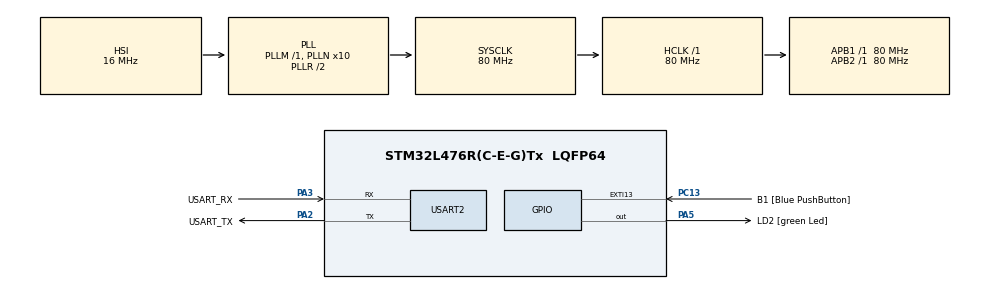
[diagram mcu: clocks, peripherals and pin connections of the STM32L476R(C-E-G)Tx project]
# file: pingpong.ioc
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Mcu.Family=STM32L4
Mcu.Name=STM32L476R(C-E-G)Tx
Mcu.Package=LQFP64
NVIC.PriorityGroup=NVIC_PRIORITYGROUP_4
PA13\ (JTMS-SWDIO).GPIO_Label=TMS
PA13\ (JTMS-SWDIO).Mode=Serial_Wire
PA13\ (JTMS-SWDIO).Signal=SYS_JTMS-SWDIO
PA14\ (JTCK-SWCLK).GPIO_Label=TCK
PA14\ (JTCK-SWCLK).Mode=Serial_Wire
PA14\ (JTCK-SWCLK).Signal=SYS_JTCK-SWCLK
PA2.GPIO_Label=USART_TX
PA2.GPIO_Mode=GPIO_MODE_AF_PP
PA2.GPIO_PuPd=GPIO_NOPULL
PA2.GPIO_Speed=GPIO_SPEED_FREQ_VERY_HIGH
PA2.Mode=Asynchronous
PA2.Signal=USART2_TX
PA3.GPIO_Label=USART_RX
PA3.GPIO_Mode=GPIO_MODE_AF_PP
PA3.GPIO_PuPd=GPIO_NOPULL
PA3.GPIO_Speed=GPIO_SPEED_FREQ_VERY_HIGH
PA3.Mode=Asynchronous
PA3.Signal=USART2_RX
PA5.GPIO_Label=LD2 [green Led]
PA5.GPIO_ModeDefaultOutputPP=GPIO_MODE_OUTPUT_PP
PA5.GPIO_PuPd=GPIO_NOPULL
PA5.GPIO_Speed=GPIO_SPEED_FREQ_LOW
PA5.Signal=GPIO_Output
PB3\ (JTDO-TRACESWO).GPIO_Label=SWO
PB3\ (JTDO-TRACESWO).Signal=SYS_JTDO-SWO
PC13.GPIO_Label=B1 [Blue PushButton]
PC13.GPIO_ModeDefaultEXTI=GPIO_MODE_IT_FALLING
PC13.GPIO_PuPd=GPIO_NOPULL
PC13.Signal=GPXTI13
PC14-OSC32_IN\ (PC14).Mode=LSE-External-Oscillator
PC14-OSC32_IN\ (PC14).Signal=RCC_OSC32_IN
PC15-OSC32_OUT\ (PC15).Mode=LSE-External-Oscillator
PC15-OSC32_OUT\ (PC15).Signal=RCC_OSC32_OUT
PH0-OSC_IN\ (PH0).Signal=RCC_OSC_IN
PH1-OSC_OUT\ (PH1).Signal=RCC_OSC_OUT
ProjectManager.HeapSize=0x200
ProjectManager.StackSize=0x400
ProjectManager.TargetToolchain=STM32CubeIDE
RCC.ADCFreq_Value=64000000
RCC.AHBFreq_Value=80000000
RCC.APB1Freq_Value=80000000
RCC.APB1TimFreq_Value=80000000
RCC.APB2Freq_Value=80000000
RCC.APB2TimFreq_Value=80000000
RCC.CortexFreq_Value=80000000
RCC.HCLKFreq_Value=80000000
RCC.HSE_VALUE=8000000
RCC.HSI_VALUE=16000000
RCC.MSI_VALUE=4000000
RCC.PLLN=10
RCC.PLLSourceVirtual=RCC_PLLSOURCE_HSI
RCC.PREFETCH_ENABLE=1
RCC.SYSCLKFreq_VALUE=80000000
RCC.SYSCLKSource=RCC_SYSCLKSOURCE_PLLCLK
RCC.USBFreq_Value=64000000
RCC.VCOOutputFreq_Value=160000000
USART2.VirtualMode-Asynchronous=VM_ASYNC
board=NUCLEO-L476RG

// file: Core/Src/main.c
/* USER CODE BEGIN Header */
/**
 ******************************************************************************
 * @file           : main.c
 * @brief          : Main program body
 ******************************************************************************
 * @attention
 *
 * Copyright (c) 2025 STMicroelectronics.
 * All rights reserved.
 *
 * This software is licensed under terms that can be found in the LICENSE file
 * in the root directory of this software component.
 * If no LICENSE file comes with this software, it is provided AS-IS.
 *
 ******************************************************************************
 */
/* USER CODE END Header */
#include "main.h"

/* USER CODE BEGIN Includes */
#include "leds.h"
#include "button.h"
#include "timer.h"
#include "score.h"
/* USER CODE END Includes */

UART_HandleTypeDef huart2;

void SystemClock_Config(void);
static void MX_GPIO_Init(void);
static void MX_USART2_UART_Init(void);
/* USER CODE BEGIN PFP */
void ping_pong_game(void);
void test_leds(void);
/* USER CODE END PFP */

int main(void)
{

  /* MCU Configuration--------------------------------------------------------*/

  /* Reset of all peripherals, Initializes the Flash interface and the Systick. */
  HAL_Init();

  /* Configure the system clock */
  SystemClock_Config();

  /* Initialize all configured peripherals */
  MX_GPIO_Init();
  MX_USART2_UART_Init();
  /* USER CODE BEGIN 2 */
  leds_init();
  button_init();

  /* Uncomment test_leds() to run LED test instead of game */
  /* test_leds(); */

  ping_pong_game();
  /* USER CODE END 2 */

  /* Infinite loop */
  while (1)
  {

  }
}

void SystemClock_Config(void)
{
  RCC_OscInitTypeDef RCC_OscInitStruct = {0};
  RCC_ClkInitTypeDef RCC_ClkInitStruct = {0};

  /** Configure the main internal regulator output voltage
   */
  if (HAL_PWREx_ControlVoltageScaling(PWR_REGULATOR_VOLTAGE_SCALE1) != HAL_OK)
  {
    Error_Handler();
  }

  /** Initializes the RCC Oscillators according to the specified parameters
   * in the RCC_OscInitTypeDef structure.
   */
  RCC_OscInitStruct.OscillatorType = RCC_OSCILLATORTYPE_HSI;
  RCC_OscInitStruct.HSIState = RCC_HSI_ON;
  RCC_OscInitStruct.HSICalibrationValue = RCC_HSICALIBRATION_DEFAULT;
  RCC_OscInitStruct.PLL.PLLState = RCC_PLL_ON;
  RCC_OscInitStruct.PLL.PLLSource = RCC_PLLSOURCE_HSI;
  RCC_OscInitStruct.PLL.PLLM = 1;
  RCC_OscInitStruct.PLL.PLLN = 10;
  RCC_OscInitStruct.PLL.PLLP = RCC_PLLP_DIV7;
  RCC_OscInitStruct.PLL.PLLQ = RCC_PLLQ_DIV2;
  RCC_OscInitStruct.PLL.PLLR = RCC_PLLR_DIV2;
  if (HAL_RCC_OscConfig(&RCC_OscInitStruct) != HAL_OK)
  {
    Error_Handler();
  }

  /** Initializes the CPU, AHB and APB buses clocks
   */
  RCC_ClkInitStruct.ClockType = RCC_CLOCKTYPE_HCLK | RCC_CLOCKTYPE_SYSCLK | RCC_CLOCKTYPE_PCLK1 | RCC_CLOCKTYPE_PCLK2;
  RCC_ClkInitStruct.SYSCLKSource = RCC_SYSCLKSOURCE_PLLCLK;
  RCC_ClkInitStruct.AHBCLKDivider = RCC_SYSCLK_DIV1;
  RCC_ClkInitStruct.APB1CLKDivider = RCC_HCLK_DIV1;
  RCC_ClkInitStruct.APB2CLKDivider = RCC_HCLK_DIV1;

  if (HAL_RCC_ClockConfig(&RCC_ClkInitStruct, FLASH_LATENCY_4) != HAL_OK)
  {
    Error_Handler();
  }
}

static void MX_USART2_UART_Init(void)
{

  huart2.Instance = USART2;
  huart2.Init.BaudRate = 115200;
  huart2.Init.WordLength = UART_WORDLENGTH_8B;
  huart2.Init.StopBits = UART_STOPBITS_1;
  huart2.Init.Parity = UART_PARITY_NONE;
  huart2.Init.Mode = UART_MODE_TX_RX;
  huart2.Init.HwFlowCtl = UART_HWCONTROL_NONE;
  huart2.Init.OverSampling = UART_OVERSAMPLING_16;
  huart2.Init.OneBitSampling = UART_ONE_BIT_SAMPLE_DISABLE;
  huart2.AdvancedInit.AdvFeatureInit = UART_ADVFEATURE_NO_INIT;
  if (HAL_UART_Init(&huart2) != HAL_OK)
  {
    Error_Handler();
  }
}

static void MX_GPIO_Init(void)
{
  GPIO_InitTypeDef GPIO_InitStruct = {0};

  /* GPIO Ports Clock Enable */
  __HAL_RCC_GPIOC_CLK_ENABLE();
  __HAL_RCC_GPIOH_CLK_ENABLE();
  __HAL_RCC_GPIOA_CLK_ENABLE();
  __HAL_RCC_GPIOB_CLK_ENABLE();

  /*Configure GPIO pin Output Level */
  HAL_GPIO_WritePin(LD2_GPIO_Port, LD2_Pin, GPIO_PIN_RESET);

  /*Configure GPIO pin : B1_Pin */
  GPIO_InitStruct.Pin = B1_Pin;
  GPIO_InitStruct.Mode = GPIO_MODE_IT_FALLING;
  GPIO_InitStruct.Pull = GPIO_NOPULL;
  HAL_GPIO_Init(B1_GPIO_Port, &GPIO_InitStruct);

  /*Configure GPIO pin : LD2_Pin */
  GPIO_InitStruct.Pin = LD2_Pin;
  GPIO_InitStruct.Mode = GPIO_MODE_OUTPUT_PP;
  GPIO_InitStruct.Pull = GPIO_NOPULL;
  GPIO_InitStruct.Speed = GPIO_SPEED_FREQ_LOW;
  HAL_GPIO_Init(LD2_GPIO_Port, &GPIO_InitStruct);

  /* USER CODE BEGIN MX_GPIO_Init_2 */

  /* Configure LED pins as outputs (ping-pong board) */

  /* LEDs on GPIOB: PB1, PB2, PB11, PB12 */
  GPIO_InitStruct.Pin = GPIO_PIN_1 | GPIO_PIN_2 | GPIO_PIN_11 | GPIO_PIN_12;
  GPIO_InitStruct.Mode = GPIO_MODE_OUTPUT_PP;
  GPIO_InitStruct.Pull = GPIO_NOPULL;
  GPIO_InitStruct.Speed = GPIO_SPEED_FREQ_LOW;
  HAL_GPIO_Init(GPIOB, &GPIO_InitStruct);

  /* LEDs on GPIOA: PA11, PA12 */
  GPIO_InitStruct.Pin = GPIO_PIN_11 | GPIO_PIN_12;
  GPIO_InitStruct.Mode = GPIO_MODE_OUTPUT_PP;
  GPIO_InitStruct.Pull = GPIO_NOPULL;
  GPIO_InitStruct.Speed = GPIO_SPEED_FREQ_LOW;
  HAL_GPIO_Init(GPIOA, &GPIO_InitStruct);

  /* LEDs on GPIOC: PC5, PC6 */
  GPIO_InitStruct.Pin = GPIO_PIN_5 | GPIO_PIN_6;
  GPIO_InitStruct.Mode = GPIO_MODE_OUTPUT_PP;
  GPIO_InitStruct.Pull = GPIO_NOPULL;
  GPIO_InitStruct.Speed = GPIO_SPEED_FREQ_LOW;
  HAL_GPIO_Init(GPIOC, &GPIO_InitStruct);

  /* Configure button pins as inputs with pull-up (ping-pong board) */

  /* Right button on PC8 */
  GPIO_InitStruct.Pin = GPIO_PIN_8;
  GPIO_InitStruct.Mode = GPIO_MODE_INPUT;
  GPIO_InitStruct.Pull = GPIO_PULLUP;
  HAL_GPIO_Init(GPIOC, &GPIO_InitStruct);

  /* Left button on PB15 */
  GPIO_InitStruct.Pin = GPIO_PIN_15;
  GPIO_InitStruct.Mode = GPIO_MODE_INPUT;
  GPIO_InitStruct.Pull = GPIO_PULLUP;
  HAL_GPIO_Init(GPIOB, &GPIO_InitStruct);

  /* Set all LEDs to initial state (off) */
  HAL_GPIO_WritePin(GPIOB, GPIO_PIN_1 | GPIO_PIN_2 | GPIO_PIN_11 | GPIO_PIN_12, GPIO_PIN_RESET);
  HAL_GPIO_WritePin(GPIOA, GPIO_PIN_11 | GPIO_PIN_12, GPIO_PIN_RESET);
  HAL_GPIO_WritePin(GPIOC, GPIO_PIN_5 | GPIO_PIN_6, GPIO_PIN_RESET);

  /* USER CODE END MX_GPIO_Init_2 */
}

/* USER CODE BEGIN 4 */

/* See GAME_GUIDE.md for game rules and instructions */

/* Game configuration constants */
#define WINNING_SCORE 5
#define INITIAL_SPEED 200
#define MIN_SPEED 100
#define SPEED_DECREASE 20
#define SCORE_DISPLAY_TIME 2000

typedef enum
{
  GAME_START,
  BALL_MOVING_RIGHT,
  BALL_MOVING_LEFT,
  POINT_SCORED,
  GAME_OVER
} GameState;

/**
 * Main ping-pong game loop (never returns)
 */
void ping_pong_game(void)
{
  GameState state = GAME_START;
  int ball_position = 4;
  int ball_direction = 1;
  uint32_t ball_speed = INITIAL_SPEED;
  uint8_t left_score = 0;
  uint8_t right_score = 0;
  int button_pressed = 0;

  leds_clear();
  HAL_Delay(500);

  /* Flash LEDs to signal game start */
  for (int i = 0; i < 3; i++)
  {
    leds_all();
    HAL_Delay(200);
    leds_clear();
    HAL_Delay(200);
  }

  HAL_Delay(500);

  while (1)
  {
    switch (state)
    {

    case GAME_START:
      ball_position = 4;

      if ((HAL_GetTick() % 2) == 0)
      {
        ball_direction = 1;
        state = BALL_MOVING_RIGHT;
      }
      else
      {
        ball_direction = -1;
        state = BALL_MOVING_LEFT;
      }

      ball_speed = INITIAL_SPEED;
      break;

    case BALL_MOVING_RIGHT:
      leds_index(ball_position);
      timer_init(ball_speed);

      while (!timer_now())
      {
        button_pressed = button_read();

        if (button_pressed == RIGHT_BUTTON && ball_position == 8)
        {
          ball_direction = -1;
          state = BALL_MOVING_LEFT;

          if (ball_speed > MIN_SPEED)
          {
            ball_speed -= SPEED_DECREASE;
          }

          break;
        }
      }

      if (state == BALL_MOVING_RIGHT)
      {
        ball_position++;

        if (ball_position > 8)
        {
          left_score++;
          state = POINT_SCORED;

          for (int i = 0; i < 3; i++)
          {
            leds_all();
            HAL_Delay(100);
            leds_clear();
            HAL_Delay(100);
          }
        }
      }
      break;

    case BALL_MOVING_LEFT:
      leds_index(ball_position);
      timer_init(ball_speed);

      while (!timer_now())
      {
        button_pressed = button_read();

        if (button_pressed == LEFT_BUTTON && ball_position == 1)
        {
          ball_direction = 1;
          state = BALL_MOVING_RIGHT;

          if (ball_speed > MIN_SPEED)
          {
            ball_speed -= SPEED_DECREASE;
          }

          break;
        }
      }

      if (state == BALL_MOVING_LEFT)
      {
        ball_position--;

        if (ball_position < 1)
        {
          right_score++;
          state = POINT_SCORED;

          for (int i = 0; i < 3; i++)
          {
            leds_all();
            HAL_Delay(100);
            leds_clear();
            HAL_Delay(100);
          }
        }
      }
      break;

    case POINT_SCORED:
      show_score(right_score, left_score, SCORE_DISPLAY_TIME);

      if (left_score >= WINNING_SCORE)
      {
        show_winner(0, 3000);
        state = GAME_OVER;
      }
      else if (right_score >= WINNING_SCORE)
      {
        show_winner(1, 3000);
        state = GAME_OVER;
      }
      else
      {
        state = GAME_START;
      }
      break;

    case GAME_OVER:
      HAL_Delay(1000);
      show_score(right_score, left_score, 3000);

      left_score = 0;
      right_score = 0;
      state = GAME_START;

      HAL_Delay(2000);

      for (int i = 0; i < 2; i++)
      {
        leds_all();
        HAL_Delay(300);
        leds_clear();
        HAL_Delay(300);
      }
      break;

    default:
      state = GAME_START;
      break;
    }
  }
}

/**
 * LED hardware test function - cycles through test patterns
 * To use: Call test_leds() instead of ping_pong_game() in main()
 */
void test_leds(void)
{
  while (1)
  {
    for (int i = 1; i <= 8; i++)
    {
      leds_index(i);
      HAL_Delay(500);
    }

    leds_clear();
    HAL_Delay(500);

    for (int i = 1; i <= 8; i++)
    {
      leds_index(i);
      HAL_Delay(100);
    }

    for (int i = 8; i >= 1; i--)
    {
      leds_index(i);
      HAL_Delay(100);
    }

    leds_clear();
    HAL_Delay(500);

    for (int i = 0; i < 3; i++)
    {
      leds_all();
      HAL_Delay(300);
      leds_clear();
      HAL_Delay(300);
    }

    HAL_Delay(1000);
  }
}

/* USER CODE END 4 */

void Error_Handler(void)
{
  __disable_irq();
  while (1)
  {
  }
}
